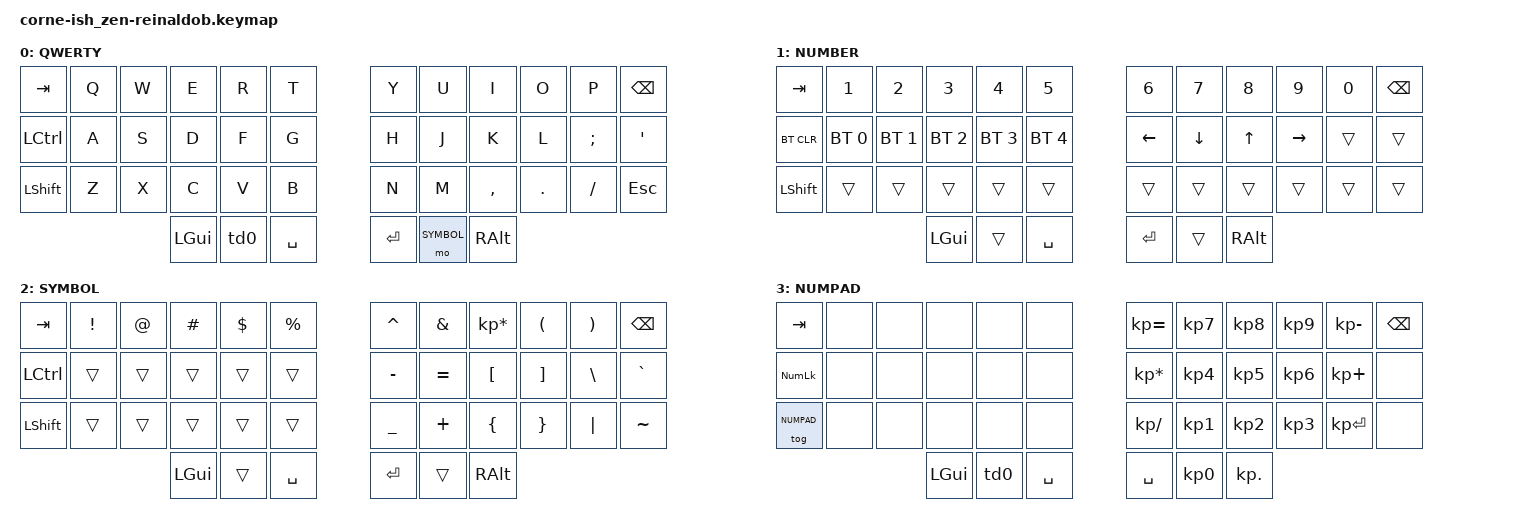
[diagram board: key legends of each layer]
/*
*
* Copyright (c) 2021 Darryl deHaan
* SPDX-License-Identifier: MIT
*
*/

#include <behaviors.dtsi>
#include <dt-bindings/zmk/keys.h>
#include <dt-bindings/zmk/bt.h>

#define QWERTY 0
#define NUMBER 1
#define SYMBOL 2
#define NUMPAD 3

/ {
        behaviors {
            td0: tap_dance_0 {
                compatible = "zmk,behavior-tap-dance";
                label = "TAP_DANCE_0";
                #binding-cells = <0>;
                tapping-term-ms = <200>;
                bindings = <&tog QWERTY>, <&tog NUMPAD>, <&tog SYMBOL>, <&tog NUMBER>;
            };
        };

        keymap {
                compatible = "zmk,keymap";

                default_layer {
                        label = "QWERTY";
// -----------------------------------------------------------------------------------------
// |  TAB |  Q  |  W  |  E  |  R  |  T  |   |  Y  |  U   |  I  |  O  |  P  | BKSP |
// | CTRL |  A  |  S  |  D  |  F  |  G  |   |  H  |  J   |  K  |  L  |  ;  |  '   |
// | SHFT |  Z  |  X  |  C  |  V  |  B  |   |  N  |  M   |  ,  |  .  |  /  | ESC  |
//                    | GUI | LWR | SPC |   | ENT | RSE  | ALT |
                        bindings = <
   &kp TAB   &kp Q &kp W &kp E &kp R &kp T   &kp Y &kp U  &kp I     &kp O   &kp P    &kp BSPC
   &kp LCTRL &kp A &kp S &kp D &kp F &kp G   &kp H &kp J  &kp K     &kp L   &kp SEMI &kp SQT
   &kp LSHFT &kp Z &kp X &kp C &kp V &kp B   &kp N &kp M  &kp COMMA &kp DOT &kp FSLH &kp ESC
                  &kp LGUI &td0 &kp SPACE   &kp RET &mo SYMBOL &kp RALT
                        >;
                };

                lower_layer {
                        label = "NUMBER";
// -----------------------------------------------------------------------------------------
// |  TAB |  1  |  2  |  3  |  4  |  5  |   |  6  |  7  |  8  |  9  |  0  | BKSP |
// | BTCLR| BT1 | BT2 | BT3 | BT4 | BT5 |   | LFT | DWN |  UP | RGT |     |      |
// | SHFT |     |     |     |     |     |   |     |     |     |     |     |      |
//                    | GUI |     | SPC |   | ENT |     | ALT |
                        bindings = <
   &kp TAB    &kp N1       &kp N2       &kp N3       &kp N4       &kp N5         &kp N6   &kp N7   &kp N8 &kp N9    &kp N0 &kp BSPC
   &bt BT_CLR &bt BT_SEL 0 &bt BT_SEL 1 &bt BT_SEL 2 &bt BT_SEL 3 &bt BT_SEL 4   &kp LEFT &kp DOWN &kp UP &kp RIGHT &trans &trans
   &kp LSHFT  &trans       &trans       &trans       &trans       &trans         &trans   &trans   &trans &trans    &trans &trans
                          	        &kp LGUI     &trans       &kp SPACE      &kp RET  &trans   &kp RALT
                        >;
                };

                raise_layer {
                        label = "SYMBOL";
// -----------------------------------------------------------------------------------------
// |  TAB |  !  |  @  |  #  |  $  |  %  |   |  ^  |  &  |  *  |  (  |  )  | BKSP |
// | CTRL |     |     |     |     |     |   |  -  |  =  |  [  |  ]  |  \  |  `   |
// | SHFT |     |     |     |     |     |   |  _  |  +  |  {  |  }  | "|" |  ~   |
//                    | GUI |     | SPC |   | ENT |     | ALT |
                        bindings = <
   &kp  TAB  &kp EXCL &kp AT &kp HASH &kp DLLR &kp PRCNT   &kp CARET &kp AMPS  &kp KP_MULTIPLY &kp LPAR &kp RPAR &kp BSPC
   &kp LCTRL &trans   &trans &trans   &trans   &trans      &kp MINUS &kp EQUAL &kp LBKT        &kp RBKT &kp BSLH &kp GRAVE
   &kp LSHFT &trans   &trans &trans   &trans   &trans      &kp UNDER &kp PLUS  &kp LBRC        &kp RBRC &kp PIPE &kp TILDE
                    	     &kp LGUI &trans   &kp SPACE   &kp RET   &trans    &kp RALT
                        >;
                };

                 numpad_layer {
                        label = "NUMPAD";
                        bindings = <
   &kp TAB     &none &none &none &none &none    &kp KP_EQUAL    &kp KP_N7 &kp KP_N8 &kp KP_N9 &kp KP_MINUS &kp BSPC
   &kp KP_NLCK &none &none &none &none &none    &kp KP_ASTERISK &kp KP_N4 &kp KP_N5 &kp KP_N6 &kp KP_PLUS  &none
   &tog NUMPAD &none &none &none &none &none    &kp KP_SLASH    &kp KP_N1 &kp KP_N2 &kp KP_N3 &kp KP_ENTER &none
              &kp LGUI &td0 &kp SPACE    &kp SPC &kp KP_N0 &kp KP_DOT
                        >;
                };
        };
};
